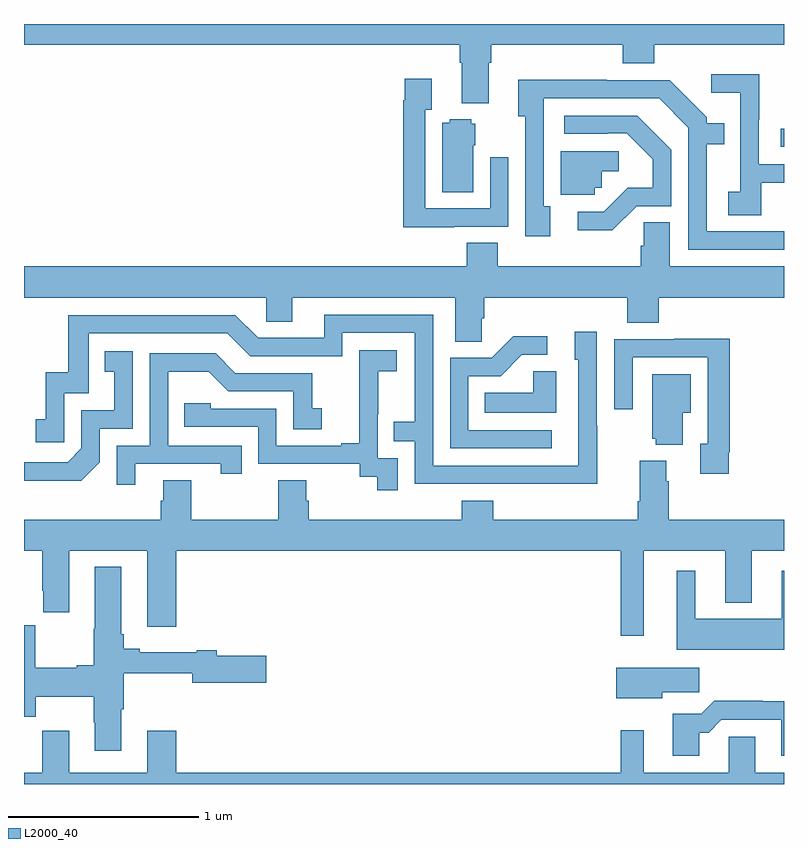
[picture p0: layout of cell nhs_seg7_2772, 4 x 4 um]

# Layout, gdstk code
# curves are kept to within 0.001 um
import gdstk
lib = gdstk.Library(unit=1e-6, precision=1e-09)
def R(c, l, rs):  # rectangles x0, y0, x1, y1
    for r in rs: c.add(gdstk.rectangle(r[:2], r[2:], *l))
def P(c, l, *ps):  # polygons
    for p in ps: c.add(gdstk.Polygon(p, *l))
L2000_40 = (2000, 40)

nhs_seg7_2772 = lib.new_cell('nhs_seg7_2772')
R(nhs_seg7_2772, L2000_40, [(292.983,1057.353,293,1057.449)])
P(nhs_seg7_2772, L2000_40, [(291.445,1057.796),(291.458,1057.796),(291.458,1057.892),(292.151,1057.892),(292.151,1057.793),(292.316,1057.793),(292.316,1057.892),(293,1057.892),(293,1058),(289,1058),(289,1057.892),(291.293,1057.892),(291.293,1057.796),(291.305,1057.796),(291.305,1057.583),(291.445,1057.583)],
  [(292.879,1057.165),(293,1057.165),(293,1057.263),(292.866,1057.263),(292.866,1057.496),(292.869,1057.496),(292.869,1057.735),(292.617,1057.735),(292.617,1057.637),(292.77,1057.637),(292.77,1057.116),(292.707,1057.116),(292.707,1056.994),(292.879,1056.994)],
  [(291.265,1056.933),(291.549,1056.933),(291.549,1057.3),(291.453,1057.3),(291.453,1057.029),(291.111,1057.029),(291.111,1057.55),(291.145,1057.55),(291.145,1057.711),(291.003,1057.711),(291.003,1057.598),(290.995,1057.598),(290.995,1056.929),(291.265,1056.929)],
  [(293,1056.909),(292.594,1056.909),(292.594,1057.368),(292.685,1057.368),(292.685,1057.477),(292.593,1057.477),(292.593,1057.509),(292.398,1057.704),(292.067,1057.704),(292.067,1057.706),(291.602,1057.706),(291.602,1057.514),(291.639,1057.514),(291.639,1056.882),(291.769,1056.882),(291.769,1057.042),(291.735,1057.042),(291.735,1057.608),(292.344,1057.608),(292.497,1057.455),(292.497,1056.813),(293,1056.813)],
  [(292.224,1057.041),(292.407,1057.041),(292.407,1057.339),(292.228,1057.518),(291.843,1057.518),(291.843,1057.422),(292.073,1057.422),(292.073,1057.425),(292.173,1057.425),(292.31,1057.288),(292.31,1057.138),(292.177,1057.138),(292.05,1057.011),(291.915,1057.011),(291.915,1056.914),(292.096,1056.914)],
  [(291.364,1057.362),(291.376,1057.362),(291.376,1057.476),(291.354,1057.476),(291.354,1057.498),(291.24,1057.498),(291.24,1057.48),(291.2,1057.48),(291.2,1057.114),(291.364,1057.114)],
  [(292.005,1057.137),(292.041,1057.137),(292.041,1057.226),(292.129,1057.226),(292.129,1057.329),(291.824,1057.329),(291.824,1057.101),(292.005,1057.101)],
  [(292.34,1056.56),(293,1056.56),(293,1056.724),(292.399,1056.724),(292.399,1056.956),(292.261,1056.956),(292.261,1056.834),(292.247,1056.834),(292.247,1056.724),(291.494,1056.724),(291.494,1056.848),(291.329,1056.848),(291.329,1056.724),(289,1056.724),(289,1056.56),(290.274,1056.56),(290.274,1056.433),(290.413,1056.433),(290.413,1056.56),(291.269,1056.56),(291.269,1056.328),(291.408,1056.328),(291.408,1056.451),(291.422,1056.451),(291.422,1056.56),(292.175,1056.56),(292.175,1056.427),(292.34,1056.427)],
  [(292.017,1055.885),(292.014,1055.885),(292.014,1056.379),(291.899,1056.379),(291.899,1056.234),(291.918,1056.234),(291.918,1055.676),(291.153,1055.676),(291.153,1056.471),(290.579,1056.471),(290.579,1056.348),(290.232,1056.348),(290.112,1056.468),(289.233,1056.468),(289.233,1056.166),(289.115,1056.166),(289.115,1055.919),(289.062,1055.919),(289.062,1055.799),(289.212,1055.799),(289.212,1056.057),(289.341,1056.057),(289.341,1056.372),(290.07,1056.372),(290.19,1056.252),(290.676,1056.252),(290.676,1056.375),(291.057,1056.375),(291.057,1055.906),(290.947,1055.906),(290.947,1055.805),(291.057,1055.805),(291.057,1055.58),(292.017,1055.579)],
  [(291.778,1055.862),(291.339,1055.862),(291.339,1056.147),(291.508,1056.147),(291.619,1056.258),(291.754,1056.258),(291.754,1056.356),(291.575,1056.356),(291.462,1056.243),(291.243,1056.243),(291.243,1055.766),(291.778,1055.766)],
  [(292.708,1055.746),(292.715,1055.746),(292.715,1056.344),(292.423,1056.344),(292.423,1056.342),(292.107,1056.342),(292.107,1055.973),(292.203,1055.973),(292.203,1056.246),(292.599,1056.246),(292.599,1055.79),(292.559,1055.79),(292.559,1055.634),(292.708,1055.634)],
  [(290.967,1055.715),(290.862,1055.715),(290.862,1055.945),(290.864,1055.945),(290.864,1056.173),(290.962,1056.173),(290.962,1056.283),(290.764,1056.283),(290.764,1056.077),(290.765,1056.077),(290.765,1055.794),(290.669,1055.794),(290.669,1055.781),(290.328,1055.781),(290.328,1055.976),(289.983,1055.976),(289.983,1056.003),(289.843,1056.003),(289.843,1055.88),(290.232,1055.88),(290.232,1055.685),(290.766,1055.685),(290.766,1055.617),(290.859,1055.617),(290.859,1055.547),(290.967,1055.547)],
  [(289.398,1055.694),(289.398,1055.871),(289.572,1055.871),(289.572,1056.277),(289.426,1056.277),(289.426,1056.171),(289.475,1056.171),(289.475,1055.967),(289.302,1055.967),(289.302,1055.766),(289.23,1055.694),(289,1055.694),(289,1055.597),(289.3,1055.597)],
  [(289.585,1055.685),(290.036,1055.685),(290.036,1055.634),(290.147,1055.634),(290.147,1055.781),(289.758,1055.781),(289.758,1056.17),(289.972,1056.17),(290.076,1056.066),(290.418,1056.066),(290.418,1055.868),(290.566,1055.868),(290.566,1055.977),(290.517,1055.977),(290.517,1056.162),(290.113,1056.162),(290.008,1056.267),(289.662,1056.267),(289.662,1055.781),(289.488,1055.781),(289.488,1055.574),(289.585,1055.574)],
  [(291.802,1056.173),(291.681,1056.173),(291.681,1056.058),(291.424,1056.058),(291.424,1055.954),(291.802,1055.954)],
  [(292.468,1055.954),(292.51,1055.954),(292.51,1056.157),(292.307,1056.157),(292.307,1055.817),(292.325,1055.817),(292.325,1055.786),(292.468,1055.786)],
  [(292.261,1055.228),(292.691,1055.228),(292.691,1054.955),(292.831,1054.955),(292.831,1055.228),(293,1055.228),(293,1055.392),(292.394,1055.392),(292.394,1055.594),(292.381,1055.594),(292.381,1055.701),(292.241,1055.701),(292.241,1055.488),(292.229,1055.488),(292.229,1055.392),(291.47,1055.392),(291.47,1055.491),(291.305,1055.491),(291.305,1055.392),(290.498,1055.392),(290.498,1055.49),(290.485,1055.49),(290.485,1055.6),(290.338,1055.6),(290.338,1055.392),(289.881,1055.392),(289.881,1055.6),(289.733,1055.6),(289.733,1055.49),(289.721,1055.49),(289.721,1055.392),(289,1055.392),(289,1055.228),(289.097,1055.228),(289.097,1055.017),(289.1,1055.017),(289.1,1054.905),(289.237,1054.905),(289.237,1055.228),(289.649,1055.228),(289.649,1054.827),(289.802,1054.827),(289.802,1055.228),(292.14,1055.228),(292.14,1054.779),(292.261,1054.779)],
  [(289.513,1054.394),(289.526,1054.394),(289.526,1054.584),(289.886,1054.584),(289.886,1054.534),(290.275,1054.534),(290.275,1054.676),(290.014,1054.676),(290.014,1054.705),(289.91,1054.705),(289.91,1054.693),(289.609,1054.693),(289.609,1054.712),(289.526,1054.712),(289.526,1054.789),(289.513,1054.789),(289.513,1055.143),(289.373,1055.143),(289.373,1054.817),(289.366,1054.817),(289.366,1054.625),(289.277,1054.625),(289.277,1054.612),(289.059,1054.612),(289.059,1054.835),(289,1054.835),(289,1054.354),(289.063,1054.354),(289.063,1054.46),(289.366,1054.46),(289.366,1054.326),(289.373,1054.326),(289.373,1054.176),(289.513,1054.176)],
  [(293,1055.122),(292.988,1055.122),(292.988,1054.87),(292.534,1054.87),(292.534,1055.122),(292.436,1055.122),(292.436,1054.706),(293,1054.706)],
  [(292.36,1054.483),(292.555,1054.483),(292.555,1054.612),(292.116,1054.612),(292.116,1054.451),(292.36,1054.451)],
  [(292.555,1054.271),(292.604,1054.271),(292.671,1054.338),(292.985,1054.338),(292.985,1054.149),(293,1054.149),(293,1054.436),(292.889,1054.436),(292.889,1054.439),(292.634,1054.439),(292.564,1054.369),(292.415,1054.369),(292.415,1054.149),(292.555,1054.149)],
  [(293,1054.06),(292.849,1054.06),(292.849,1054.25),(292.71,1054.25),(292.71,1054.06),(292.261,1054.06),(292.261,1054.282),(292.14,1054.282),(292.14,1054.06),(289.802,1054.06),(289.802,1054.279),(289.649,1054.279),(289.649,1054.06),(289.237,1054.06),(289.237,1054.279),(289.097,1054.279),(289.097,1054.06),(289,1054.06),(289,1054),(293,1054)])

lib.write_gds('nhs_seg7_2772.gds')
